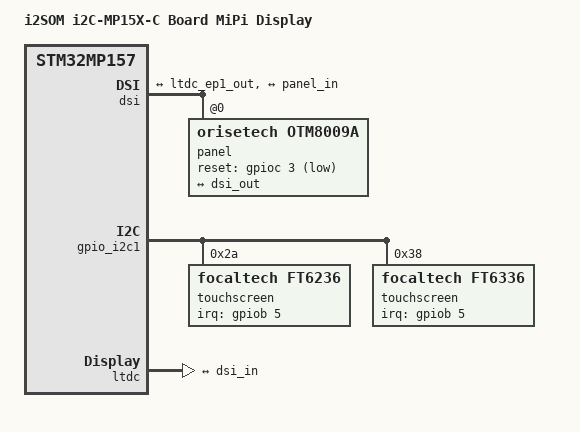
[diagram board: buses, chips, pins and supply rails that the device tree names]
// SPDX-License-Identifier: (GPL-2.0+ OR BSD-3-Clause)
/*
 * Copyright (C) i2SOM 2018 - All Rights Reserved
 * Author: Steve Chen <steve.chen@i2som.tech>.
 */

/dts-v1/;

#include "stm32mp157a-i2cmp15xbe.dts"
#include <dt-bindings/rtc/rtc-stm32.h>
#include "stm32mp157a-i2cmp15xbe-cm4.dts"

/ {
	model = "i2SOM i2C-MP15X-C Board MiPi Display";
	compatible = "i2som,pangu", "st,stm32mp157";
};

&dsi {
	#address-cells = <1>;
	#size-cells = <0>;
	status = "okay";

	ports {
		#address-cells = <1>;
		#size-cells = <0>;

		port@0 {
			reg = <0>;
			dsi_in: endpoint {
				remote-endpoint = <&ltdc_ep1_out>;
			};
		};

		port@1 {
			reg = <1>;
			dsi_out: endpoint {
				remote-endpoint = <&panel_in>;
			};
		};
	};

	panel@0 {
		compatible = "orisetech,otm8009a";
		reg = <0>;
		reset-gpios = <&gpioc 3 GPIO_ACTIVE_LOW>;
		status = "okay";

		port {
			panel_in: endpoint {
				remote-endpoint = <&dsi_out>;
			};
		};
	};
};

&gpio_i2c1 {
	touchscreen@2a {
		compatible = "focaltech,ft6236";
		reg = <0x2a>;
		interrupts = <5 2>;
		interrupt-parent = <&gpiob>;
		interrupt-controller;
		touchscreen-size-x = <480>;
		touchscreen-size-y = <800>;
		status = "okay";
	};

	touchscreen@38 {
		compatible = "focaltech,ft6336";
		reg = <0x38>;
		interrupts = <5 2>;
		interrupt-parent = <&gpiob>;
		interrupt-controller;
		touchscreen-size-x = <480>;
		touchscreen-size-y = <800>;
		status = "okay";
	};
};

&ltdc {
	status = "okay";

	port {
		#address-cells = <1>;
		#size-cells = <0>;

		ltdc_ep1_out: endpoint@0 {
			reg = <0>;
			remote-endpoint = <&dsi_in>;
		};
	};
};

